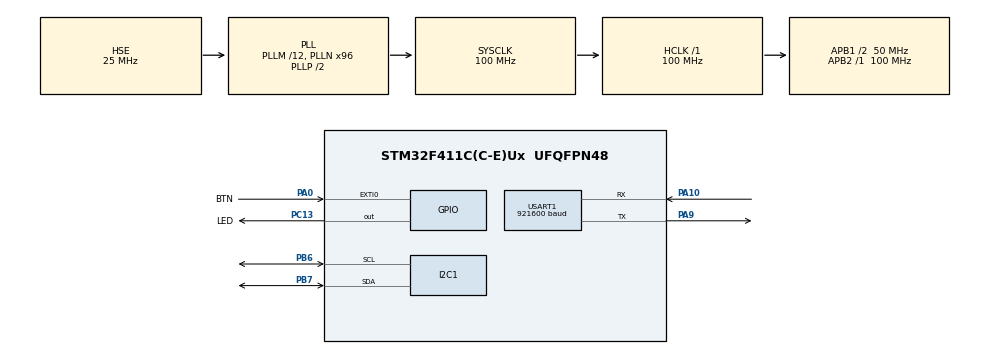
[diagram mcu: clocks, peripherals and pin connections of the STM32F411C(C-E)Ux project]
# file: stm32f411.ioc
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Mcu.Family=STM32F4
Mcu.Name=STM32F411C(C-E)Ux
Mcu.Package=UFQFPN48
NVIC.PriorityGroup=NVIC_PRIORITYGROUP_4
PA0-WKUP.GPIO_Label=BTN
PA0-WKUP.GPIO_ModeDefaultEXTI=GPIO_MODE_IT_RISING_FALLING
PA0-WKUP.GPIO_PuPd=GPIO_PULLUP
PA0-WKUP.Signal=GPXTI0
PA10.Mode=Asynchronous
PA10.Signal=USART1_RX
PA13.Mode=Serial_Wire
PA13.Signal=SYS_JTMS-SWDIO
PA14.Mode=Serial_Wire
PA14.Signal=SYS_JTCK-SWCLK
PA9.Mode=Asynchronous
PA9.Signal=USART1_TX
PB6.GPIO_Pu=GPIO_PULLUP
PB6.Mode=I2C
PB6.Signal=I2C1_SCL
PB7.GPIO_Pu=GPIO_PULLUP
PB7.Mode=I2C
PB7.Signal=I2C1_SDA
PC13-ANTI_TAMP.GPIO_Label=LED
PC13-ANTI_TAMP.GPIO_ModeDefaultOutputPP=GPIO_MODE_OUTPUT_OD
PC13-ANTI_TAMP.GPIO_PuPd=GPIO_NOPULL
PC13-ANTI_TAMP.PinState=GPIO_PIN_SET
PC13-ANTI_TAMP.Signal=GPIO_Output
PH0\ -\ OSC_IN.Mode=HSE-External-Oscillator
PH0\ -\ OSC_IN.Signal=RCC_OSC_IN
PH1\ -\ OSC_OUT.Mode=HSE-External-Oscillator
PH1\ -\ OSC_OUT.Signal=RCC_OSC_OUT
ProjectManager.HeapSize=0x200
ProjectManager.StackSize=0x400
ProjectManager.TargetToolchain=STM32CubeIDE
RCC.48MHZClocksFreq_Value=50000000
RCC.AHBFreq_Value=100000000
RCC.APB1CLKDivider=RCC_HCLK_DIV2
RCC.APB1Freq_Value=50000000
RCC.APB1TimFreq_Value=100000000
RCC.APB2Freq_Value=100000000
RCC.APB2TimFreq_Value=100000000
RCC.CortexFreq_Value=100000000
RCC.HCLKFreq_Value=100000000
RCC.HSE_VALUE=25000000
RCC.HSI_VALUE=16000000
RCC.LSE_VALUE=32768
RCC.PLLM=12
RCC.PLLN=96
RCC.PLLSourceVirtual=RCC_PLLSOURCE_HSE
RCC.SYSCLKFreq_VALUE=100000000
RCC.SYSCLKSource=RCC_SYSCLKSOURCE_PLLCLK
RCC.VCOOutputFreq_Value=200000000
USART1.BaudRate=921600
USART1.VirtualMode=VM_ASYNC
board=custom

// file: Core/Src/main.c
/* USER CODE BEGIN Header */
/**
  ******************************************************************************
  * @file           : main.c
  * @brief          : Main program body
  ******************************************************************************
  * @attention
  *
  * Copyright (c) 2022 STMicroelectronics.
  * All rights reserved.
  *
  * This software is licensed under terms that can be found in the LICENSE file
  * in the root directory of this software component.
  * If no LICENSE file comes with this software, it is provided AS-IS.
  *
  ******************************************************************************
  */
/* USER CODE END Header */
#include "main.h"

/* USER CODE BEGIN Includes */
#include <stdio.h>
#include "i2clcd.h"
/* USER CODE END Includes */

 I2C_HandleTypeDef hi2c1;

UART_HandleTypeDef huart1;

/* USER CODE BEGIN PV */
I2CLcd_HandleTypeDef i2clcd;
/* USER CODE END PV */

void SystemClock_Config(void);
static void MX_GPIO_Init(void);
static void MX_I2C1_Init(void);
static void MX_USART1_UART_Init(void);

/* USER CODE BEGIN 0 */

// Send printf to uart1
int _write(int fd, char* ptr, int len) {
  HAL_StatusTypeDef hstatus;

  if (fd == 1 || fd == 2) {
    hstatus = HAL_UART_Transmit(&huart1, (uint8_t *) ptr, len, HAL_MAX_DELAY);
    if (hstatus == HAL_OK)
      return len;
    else
      return -1;
  }
  return -1;
}

/* USER CODE END 0 */

int main(void)
{

  /* MCU Configuration--------------------------------------------------------*/

  /* Reset of all peripherals, Initializes the Flash interface and the Systick. */
  HAL_Init();

  /* Configure the system clock */
  SystemClock_Config();

  /* Initialize all configured peripherals */
  MX_GPIO_Init();
  MX_I2C1_Init();
  MX_USART1_UART_Init();
  /* USER CODE BEGIN 2 */

  DBG("\n\n\n-------------------------\nMCU and Peripherals has been initialized!");

//	for (uint8_t i = 0; i < 128; i++) {
//
//	  if (HAL_I2C_IsDeviceReady(&hi2c1, (uint16_t)(i<<1), 3, 5) == HAL_OK) {
//		  // We got an ack
//		  printf("%2x ", i);
//	  } else {
//		  printf("-- ");
//	  }
//
//	  if (i > 0 && (i + 1) % 16 == 0) printf("\n");
//
//	}
//
//	printf("\n");

  if (i2clcd_init(&i2clcd, &hi2c1, LCD_DEFAULT_ADDRESS) != I2CLcd_OK) {
	  Error_Handler();
  }

	// Toy around with backlight
	i2clcd_set_backlight(&i2clcd, LCD_FALSE);
	HAL_Delay(1000);
	i2clcd_set_backlight(&i2clcd, LCD_TRUE);
	HAL_Delay(1000);
	i2clcd_set_backlight(&i2clcd, LCD_FALSE);
	HAL_Delay(1000);
	i2clcd_set_backlight(&i2clcd, LCD_TRUE);
	HAL_Delay(1000);

  /* USER CODE END 2 */

  /* Infinite loop */
  /* USER CODE BEGIN WHILE */

  uint32_t now = 0, last_blink = 0, last_tick = 0;

  while (1)
  {

	  now = HAL_GetTick();

	  if (now - last_blink >= 500) {
		  HAL_GPIO_TogglePin(LED_GPIO_Port, LED_Pin);
		  last_blink = now;
	  }

	  if (now - last_tick >= 1000) {
		  DBG("Tick %lu", now / 1000);
		  last_tick = now;
	  }

    /* USER CODE END WHILE */

  }
}

void SystemClock_Config(void)
{
  RCC_OscInitTypeDef RCC_OscInitStruct = {0};
  RCC_ClkInitTypeDef RCC_ClkInitStruct = {0};

  /** Configure the main internal regulator output voltage
  */
  __HAL_RCC_PWR_CLK_ENABLE();
  __HAL_PWR_VOLTAGESCALING_CONFIG(PWR_REGULATOR_VOLTAGE_SCALE1);

  /** Initializes the RCC Oscillators according to the specified parameters
  * in the RCC_OscInitTypeDef structure.
  */
  RCC_OscInitStruct.OscillatorType = RCC_OSCILLATORTYPE_HSE;
  RCC_OscInitStruct.HSEState = RCC_HSE_ON;
  RCC_OscInitStruct.PLL.PLLState = RCC_PLL_ON;
  RCC_OscInitStruct.PLL.PLLSource = RCC_PLLSOURCE_HSE;
  RCC_OscInitStruct.PLL.PLLM = 12;
  RCC_OscInitStruct.PLL.PLLN = 96;
  RCC_OscInitStruct.PLL.PLLP = RCC_PLLP_DIV2;
  RCC_OscInitStruct.PLL.PLLQ = 4;
  if (HAL_RCC_OscConfig(&RCC_OscInitStruct) != HAL_OK)
  {
    Error_Handler();
  }

  /** Initializes the CPU, AHB and APB buses clocks
  */
  RCC_ClkInitStruct.ClockType = RCC_CLOCKTYPE_HCLK|RCC_CLOCKTYPE_SYSCLK
                              |RCC_CLOCKTYPE_PCLK1|RCC_CLOCKTYPE_PCLK2;
  RCC_ClkInitStruct.SYSCLKSource = RCC_SYSCLKSOURCE_PLLCLK;
  RCC_ClkInitStruct.AHBCLKDivider = RCC_SYSCLK_DIV1;
  RCC_ClkInitStruct.APB1CLKDivider = RCC_HCLK_DIV2;
  RCC_ClkInitStruct.APB2CLKDivider = RCC_HCLK_DIV1;

  if (HAL_RCC_ClockConfig(&RCC_ClkInitStruct, FLASH_LATENCY_3) != HAL_OK)
  {
    Error_Handler();
  }
}

static void MX_I2C1_Init(void)
{

  hi2c1.Instance = I2C1;
  hi2c1.Init.ClockSpeed = 100000;
  hi2c1.Init.DutyCycle = I2C_DUTYCYCLE_2;
  hi2c1.Init.OwnAddress1 = 0;
  hi2c1.Init.AddressingMode = I2C_ADDRESSINGMODE_7BIT;
  hi2c1.Init.DualAddressMode = I2C_DUALADDRESS_DISABLE;
  hi2c1.Init.OwnAddress2 = 0;
  hi2c1.Init.GeneralCallMode = I2C_GENERALCALL_DISABLE;
  hi2c1.Init.NoStretchMode = I2C_NOSTRETCH_DISABLE;
  if (HAL_I2C_Init(&hi2c1) != HAL_OK)
  {
    Error_Handler();
  }

}

static void MX_USART1_UART_Init(void)
{

  huart1.Instance = USART1;
  huart1.Init.BaudRate = 921600;
  huart1.Init.WordLength = UART_WORDLENGTH_8B;
  huart1.Init.StopBits = UART_STOPBITS_1;
  huart1.Init.Parity = UART_PARITY_NONE;
  huart1.Init.Mode = UART_MODE_TX_RX;
  huart1.Init.HwFlowCtl = UART_HWCONTROL_NONE;
  huart1.Init.OverSampling = UART_OVERSAMPLING_16;
  if (HAL_UART_Init(&huart1) != HAL_OK)
  {
    Error_Handler();
  }

}

static void MX_GPIO_Init(void)
{
  GPIO_InitTypeDef GPIO_InitStruct = {0};

  /* GPIO Ports Clock Enable */
  __HAL_RCC_GPIOC_CLK_ENABLE();
  __HAL_RCC_GPIOH_CLK_ENABLE();
  __HAL_RCC_GPIOA_CLK_ENABLE();
  __HAL_RCC_GPIOB_CLK_ENABLE();

  /*Configure GPIO pin Output Level */
  HAL_GPIO_WritePin(LED_GPIO_Port, LED_Pin, GPIO_PIN_SET);

  /*Configure GPIO pin : LED_Pin */
  GPIO_InitStruct.Pin = LED_Pin;
  GPIO_InitStruct.Mode = GPIO_MODE_OUTPUT_OD;
  GPIO_InitStruct.Pull = GPIO_NOPULL;
  GPIO_InitStruct.Speed = GPIO_SPEED_FREQ_LOW;
  HAL_GPIO_Init(LED_GPIO_Port, &GPIO_InitStruct);

  /*Configure GPIO pin : BTN_Pin */
  GPIO_InitStruct.Pin = BTN_Pin;
  GPIO_InitStruct.Mode = GPIO_MODE_IT_RISING_FALLING;
  GPIO_InitStruct.Pull = GPIO_PULLUP;
  HAL_GPIO_Init(BTN_GPIO_Port, &GPIO_InitStruct);

}

void Error_Handler(void)
{
  __disable_irq();
  while (1)
  {
  }
}
